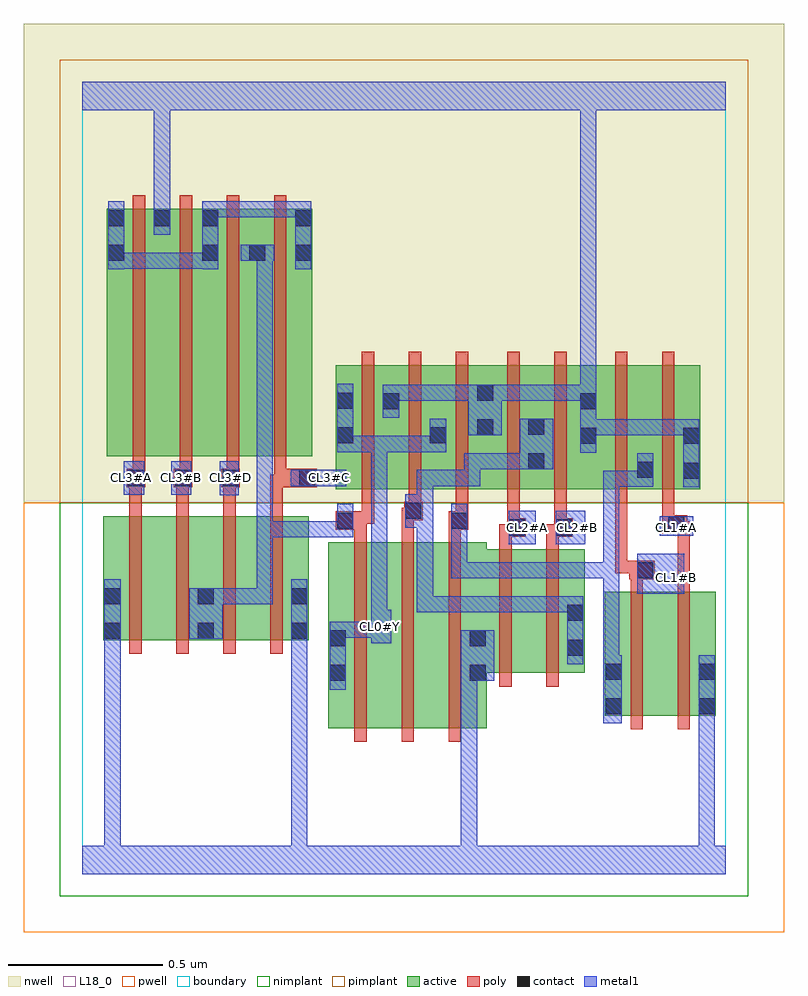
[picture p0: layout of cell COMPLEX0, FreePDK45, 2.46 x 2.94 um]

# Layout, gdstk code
import gdstk
lib = gdstk.Library(unit=1e-6, precision=1e-09)
def R(c, l, rs):  # rectangles x0, y0, x1, y1
    for r in rs: c.add(gdstk.rectangle(r[:2], r[2:], *l))
def A(c, l, x, y, w, h, nx, ny, dx, dy):  # array of equal rectangles
    R(c, l, [(x+i*dx, y+j*dy, x+i*dx+w, y+j*dy+h) for i in range(nx) for j in range(ny)])
active = (1, 0)
pwell = (2, 0)
nwell = (3, 0)
nimplant = (4, 0)
pimplant = (5, 0)
poly = (9, 0)
contact = (10, 0)
metal1 = (11, 0)
L18_0 = (18, 0)
boundary = (235, 0)

complex0 = lib.new_cell('COMPLEX0')
R(complex0, active, [(0.796,0.472,0.976,1.072), (0.796,0.472,0.856,1.072), (0.976,0.472,1.128,1.072), (1.128,0.472,1.308,1.072), (1.248,0.472,1.308,1.05), (1.688,0.512,1.748,0.912), (1.688,0.512,1.868,0.912), (1.868,0.512,2.048,0.912), (1.988,0.512,2.048,0.912), (1.248,0.65,1.444,1.05), (1.444,0.65,1.624,1.05), (1.564,0.65,1.624,1.05), (0.068,0.756,0.128,1.156), (0.068,0.756,0.248,1.156), (0.248,0.756,0.43,1.156), (0.37,0.756,0.552,1.156), (0.37,0.756,0.43,0.928), (0.552,0.756,0.732,1.156), (0.672,0.756,0.732,1.156), (0.82,1.244,0.88,1.644), (0.82,1.244,1.028,1.644), (0.968,1.244,1.18,1.644), (1.12,1.244,1.332,1.644), (1.272,1.244,1.498,1.644), (1.438,1.244,1.666,1.644), (1.606,1.244,1.85,1.644), (1.79,1.244,1.998,1.644), (1.938,1.244,1.998,1.644), (1.606,1.256,1.666,1.644), (1.79,1.276,1.85,1.644), (1.438,1.304,1.498,1.644), (0.08,1.35,0.14,2.15), (0.08,1.35,0.288,2.15), (0.228,1.35,0.288,2.15), (0.228,1.35,0.444,2.15), (0.384,1.35,0.444,2.15), (0.384,1.35,0.596,2.15), (0.536,1.35,0.744,2.15), (0.536,1.35,0.596,2.044), (0.684,1.35,0.744,2.15), (1.272,1.36,1.332,1.644), (1.12,1.388,1.18,1.644), (0.968,1.498,1.028,1.644)])
R(complex0, pwell, [(-0.188,-0.188,2.268,1.2)])
R(complex0, nwell, [(-0.188,1.2,2.268,2.748)])
R(complex0, nimplant, [(-0.072,-0.072,2.152,1.2)])
R(complex0, pimplant, [(-0.072,1.2,2.152,2.632)])
A(complex0, poly, 0.88, 0.428, 0.04, 0.688, 3, 1, 0.152, 0)
A(complex0, poly, 0.152, 0.712, 0.04, 0.488, 4, 1, 0.152, 0)
A(complex0, poly, 0.152, 1.16, 0.04, 0.13, 4, 1, 0.152, 0)
A(complex0, poly, 0.904, 1.2, 0.04, 0.488, 3, 1, 0.152, 0)
A(complex0, poly, 0.164, 1.27, 0.04, 0.076, 4, 1, 0.152, 0)
A(complex0, poly, 0.164, 1.306, 0.04, 0.888, 4, 1, 0.152, 0)
R(complex0, poly, [(1.772,0.468,1.812,0.956), (1.924,0.468,1.964,0.956), (1.348,0.606,1.388,1.094), (1.5,0.606,1.54,1.094), (1.772,0.916,1.812,0.992), (1.924,0.916,1.964,1.14), (1.768,0.952,1.85,1.012), (1.722,0.972,1.762,1.24), (1.722,0.972,1.808,1.012), (1.768,0.972,1.808,1.012), (1.348,1.054,1.388,1.13), (1.5,1.054,1.54,1.13), (0.88,1.076,0.92,1.152), (1.032,1.076,1.072,1.184), (1.184,1.076,1.224,1.152), (1.348,1.09,1.414,1.13), (1.374,1.09,1.414,1.13), (1.374,1.09,1.434,1.15), (1.5,1.09,1.566,1.13), (1.526,1.09,1.566,1.13), (1.526,1.09,1.586,1.15), (1.874,1.1,1.956,1.16), (1.916,1.1,1.956,1.14), (1.916,1.1,1.964,1.14), (1.374,1.11,1.414,1.24), (1.526,1.11,1.566,1.24), (0.82,1.112,0.92,1.172), (1.184,1.112,1.248,1.172), (1.874,1.12,1.914,1.24), (0.88,1.132,0.92,1.172), (0.88,1.132,0.944,1.172), (0.904,1.132,0.944,1.24), (1.208,1.132,1.248,1.172), (1.208,1.132,1.248,1.172), (1.208,1.132,1.248,1.24), (1.032,1.144,1.08,1.184), (1.04,1.144,1.08,1.184), (1.04,1.144,1.1,1.204), (1.056,1.164,1.096,1.24), (1.374,1.2,1.414,1.688), (1.526,1.2,1.566,1.688), (1.722,1.2,1.762,1.688), (1.874,1.2,1.914,1.688), (0.144,1.25,0.204,1.31), (0.152,1.25,0.192,1.29), (0.152,1.25,0.192,1.29), (0.296,1.25,0.356,1.31), (0.45,1.25,0.51,1.31), (0.608,1.25,0.66,1.29), (0.62,1.25,0.66,1.29), (0.62,1.25,0.758,1.31), (0.316,1.27,0.356,1.31), (0.316,1.27,0.356,1.31), (0.468,1.27,0.508,1.31), (0.468,1.27,0.508,1.31)])
A(complex0, contact, 0.072, 0.76, 0.052, 0.052, 3, 2, 0.302, 0.112)
R(complex0, contact, [(1.692,0.516,1.744,0.568), (1.992,0.516,2.044,0.568), (0.8,0.624,0.852,0.676), (1.252,0.624,1.304,0.676), (1.692,0.628,1.744,0.68), (1.992,0.628,2.044,0.68), (1.568,0.706,1.62,0.758), (0.8,0.736,0.852,0.788), (1.252,0.736,1.304,0.788), (1.568,0.818,1.62,0.87), (1.794,0.956,1.846,1.008), (1.378,1.094,1.43,1.146), (1.53,1.094,1.582,1.146), (1.894,1.104,1.946,1.156), (0.824,1.116,0.876,1.168), (1.192,1.116,1.244,1.168), (1.044,1.148,1.096,1.2), (0.148,1.254,0.2,1.306), (0.3,1.254,0.352,1.306), (0.454,1.254,0.506,1.306), (0.702,1.254,0.754,1.306), (1.942,1.278,1.994,1.33), (1.794,1.28,1.846,1.332), (1.442,1.308,1.494,1.36), (1.61,1.39,1.662,1.442), (1.942,1.39,1.994,1.442), (0.824,1.392,0.876,1.444), (1.124,1.392,1.176,1.444), (1.276,1.418,1.328,1.47), (1.442,1.42,1.494,1.472), (0.972,1.502,1.024,1.554), (1.61,1.502,1.662,1.554), (0.824,1.504,0.876,1.556), (1.276,1.53,1.328,1.582), (0.084,1.982,0.136,2.034), (0.388,1.982,0.44,2.034), (0.54,1.982,0.592,2.034), (0.688,1.982,0.74,2.034), (0.084,2.094,0.136,2.146), (0.232,2.094,0.284,2.146), (0.388,2.094,0.44,2.146), (0.688,2.094,0.74,2.146)])
R(complex0, metal1, [(0,0,2.08,0.092), (0.072,0.04,0.124,0.092), (0.072,0.04,0.124,0.092), (0.072,0.04,0.124,0.092), (0.072,0.04,0.124,0.092), (0.072,0.04,0.124,0.092), (0.072,0.04,0.124,0.092), (0.072,0.04,0.124,0.092), (0.072,0.04,0.124,0.092), (0.072,0.04,0.124,0.092), (0.072,0.04,0.124,0.092), (0.072,0.04,0.124,0.784), (0.676,0.04,0.728,0.092), (0.676,0.04,0.728,0.092), (0.676,0.04,0.728,0.092), (0.676,0.04,0.728,0.092), (0.676,0.04,0.728,0.092), (0.676,0.04,0.728,0.092), (0.676,0.04,0.728,0.092), (0.676,0.04,0.728,0.092), (0.676,0.04,0.728,0.092), (0.676,0.04,0.728,0.092), (0.676,0.04,0.728,0.092), (0.676,0.04,0.728,0.092), (0.676,0.04,0.728,0.784), (1.224,0.04,1.276,0.092), (1.224,0.04,1.276,0.092), (1.224,0.04,1.276,0.092), (1.224,0.04,1.276,0.092), (1.224,0.04,1.276,0.092), (1.224,0.04,1.276,0.092), (1.224,0.04,1.276,0.092), (1.224,0.04,1.276,0.092), (1.224,0.04,1.276,0.676), (1.992,0.04,2.044,0.092), (1.992,0.04,2.044,0.092), (1.992,0.04,2.044,0.092), (1.992,0.04,2.044,0.092), (1.992,0.04,2.044,0.54), (1.684,0.488,1.744,0.708), (1.992,0.488,2.044,0.54), (1.992,0.488,2.044,0.54), (1.992,0.488,2.044,0.54), (1.992,0.488,2.044,0.54), (1.992,0.488,2.044,0.54), (1.992,0.488,2.044,0.54), (1.992,0.488,2.044,0.54), (1.992,0.488,2.044,0.54), (1.992,0.488,2.044,0.708), (0.8,0.596,0.852,0.816), (1.224,0.624,1.332,0.788), (1.684,0.656,1.736,1.008), (1.568,0.678,1.62,0.898), (0.072,0.732,0.124,0.784), (0.072,0.732,0.124,0.784), (0.072,0.732,0.124,0.952), (0.676,0.732,0.728,0.952), (0.934,0.746,0.998,0.854), (0.346,0.76,0.454,0.924), (0.8,0.764,0.852,0.816), (0.8,0.764,0.852,0.816), (0.8,0.764,0.986,0.816), (0.934,0.764,0.986,0.816), (0.934,0.764,0.986,0.816), (0.934,0.764,0.986,0.816), (0.934,0.764,0.986,0.816), (0.934,0.764,0.986,0.816), (0.934,0.764,0.986,0.816), (0.934,0.764,0.986,1.416), (1.082,0.846,1.134,0.898), (1.082,0.846,1.134,0.898), (1.082,0.846,1.134,0.898), (1.082,0.846,1.32,0.898), (1.082,0.846,1.134,1.228), (1.268,0.846,1.32,0.898), (1.268,0.846,1.32,0.898), (1.268,0.846,1.32,0.898), (1.268,0.846,1.466,0.898), (1.414,0.846,1.466,0.898), (1.414,0.846,1.466,0.898), (1.414,0.846,1.466,0.898), (1.414,0.846,1.62,0.898), (1.568,0.846,1.62,0.898), (1.568,0.846,1.62,0.898), (0.402,0.872,0.454,0.924), (0.402,0.872,0.454,0.924), (0.402,0.872,0.616,0.924), (0.564,0.872,0.616,0.924), (0.564,0.872,0.616,1.14), (1.794,0.906,1.946,1.036), (1.192,0.956,1.472,1.008), (1.192,0.956,1.244,1.14), (1.42,0.956,1.472,1.008), (1.42,0.956,1.472,1.008), (1.42,0.956,1.472,1.008), (1.42,0.956,1.582,1.008), (1.53,0.956,1.582,1.008), (1.53,0.956,1.582,1.008), (1.53,0.956,1.582,1.008), (1.53,0.956,1.736,1.008), (1.684,0.956,1.736,1.008), (1.684,0.956,1.736,1.008), (1.684,0.956,1.736,1.008), (1.684,0.956,1.736,1.304), (1.378,1.066,1.466,1.174), (1.53,1.066,1.626,1.174), (0.564,1.088,0.616,1.14), (0.564,1.088,0.726,1.14), (0.564,1.088,0.616,2.034), (0.674,1.088,0.726,1.14), (0.674,1.088,0.726,1.14), (0.674,1.088,0.726,1.14), (0.674,1.088,0.876,1.14), (0.824,1.088,0.876,1.14), (0.824,1.088,0.876,1.14), (0.824,1.088,0.876,1.196), (1.192,1.088,1.244,1.14), (1.192,1.088,1.244,1.196), (1.866,1.094,1.974,1.156), (1.044,1.12,1.096,1.228), (1.044,1.176,1.134,1.228), (1.082,1.176,1.134,1.306), (0.444,1.224,0.506,1.334), (0.134,1.226,0.2,1.334), (0.288,1.226,0.352,1.334), (1.942,1.25,1.994,1.47), (1.684,1.252,1.736,1.304), (1.684,1.252,1.772,1.304), (1.72,1.252,1.772,1.304), (1.72,1.252,1.846,1.304), (1.794,1.252,1.846,1.36), (0.674,1.254,0.854,1.306), (1.082,1.254,1.286,1.306), (1.234,1.254,1.286,1.306), (1.234,1.254,1.286,1.306), (1.234,1.254,1.286,1.306), (1.234,1.254,1.286,1.36), (1.234,1.308,1.286,1.36), (1.234,1.308,1.466,1.36), (1.414,1.308,1.466,1.36), (1.414,1.308,1.466,1.36), (1.414,1.308,1.522,1.472), (1.61,1.362,1.662,1.582), (0.824,1.364,0.876,1.416), (0.824,1.364,0.876,1.416), (0.824,1.364,0.876,1.584), (0.824,1.364,0.986,1.416), (0.934,1.364,0.986,1.416), (0.934,1.364,0.986,1.416), (0.934,1.364,0.986,1.416), (0.934,1.364,1.176,1.416), (1.124,1.364,1.176,1.472), (1.248,1.418,1.356,1.582), (1.61,1.418,1.736,1.47), (1.684,1.418,1.736,1.47), (1.684,1.418,1.772,1.47), (1.72,1.418,1.772,1.47), (1.72,1.418,1.884,1.47), (1.832,1.418,1.884,1.47), (1.832,1.418,1.994,1.47), (1.942,1.418,1.994,1.47), (1.942,1.418,1.994,1.47), (0.972,1.474,1.024,1.582), (0.972,1.53,1.134,1.582), (1.082,1.53,1.134,1.582), (1.082,1.53,1.134,1.582), (1.082,1.53,1.134,1.582), (1.082,1.53,1.3,1.582), (1.248,1.53,1.3,1.582), (1.248,1.53,1.3,1.582), (1.304,1.53,1.472,1.582), (1.42,1.53,1.472,1.582), (1.42,1.53,1.472,1.582), (1.42,1.53,1.472,1.582), (1.42,1.53,1.626,1.582), (1.574,1.53,1.626,1.582), (1.574,1.53,1.662,1.582), (1.61,1.53,1.662,2.52), (0.084,1.954,0.136,2.174), (0.388,1.954,0.44,2.174), (0.688,1.954,0.74,2.174), (0.084,1.956,0.136,2.008), (0.084,1.956,0.136,2.008), (0.084,1.956,0.288,2.008), (0.236,1.956,0.288,2.008), (0.236,1.956,0.288,2.008), (0.236,1.956,0.288,2.008), (0.236,1.956,0.44,2.008), (0.512,1.982,0.62,2.034), (0.564,1.982,0.616,2.034), (0.564,1.982,0.616,2.034), (0.232,2.066,0.284,2.174), (0.232,2.122,0.284,2.52), (0.388,2.122,0.44,2.174), (0.388,2.122,0.44,2.174), (0.388,2.122,0.44,2.174), (0.388,2.122,0.44,2.174), (0.388,2.122,0.616,2.174), (0.564,2.122,0.616,2.174), (0.564,2.122,0.616,2.174), (0.564,2.122,0.616,2.174), (0.564,2.122,0.74,2.174), (0,2.468,2.08,2.56), (0.232,2.468,0.284,2.52), (0.232,2.468,0.284,2.52), (0.232,2.468,0.284,2.52), (0.232,2.468,0.284,2.52), (0.232,2.468,0.284,2.52), (0.232,2.468,0.284,2.52), (0.232,2.468,0.284,2.52), (0.232,2.468,0.284,2.52), (1.61,2.468,1.662,2.52), (1.61,2.468,1.662,2.52), (1.61,2.468,1.662,2.52), (1.61,2.468,1.662,2.52), (1.61,2.468,1.662,2.52), (1.61,2.468,1.662,2.52), (1.61,2.468,1.662,2.52), (1.61,2.468,1.662,2.52), (1.61,2.468,1.662,2.52), (1.61,2.468,1.662,2.52), (1.61,2.468,1.662,2.52), (1.61,2.468,1.662,2.52), (1.61,2.468,1.662,2.52), (1.61,2.468,1.662,2.52), (1.61,2.468,1.662,2.52), (1.61,2.468,1.662,2.52)])
A(complex0, L18_0, 0.134, 1.254, 0.052, 0.052, 3, 1, 0.16, 0)
R(complex0, L18_0, [(0,0,2.08,0.092), (0.072,0.04,0.124,0.092), (0.072,0.04,0.124,0.092), (0.072,0.04,0.124,0.092), (0.072,0.04,0.124,0.092), (0.072,0.04,0.124,0.092), (0.072,0.04,0.124,0.092), (0.072,0.04,0.124,0.092), (0.072,0.04,0.124,0.092), (0.072,0.04,0.124,0.092), (0.072,0.04,0.124,0.092), (0.072,0.04,0.124,0.784), (0.676,0.04,0.728,0.092), (0.676,0.04,0.728,0.092), (0.676,0.04,0.728,0.092), (0.676,0.04,0.728,0.092), (0.676,0.04,0.728,0.092), (0.676,0.04,0.728,0.092), (0.676,0.04,0.728,0.092), (0.676,0.04,0.728,0.092), (0.676,0.04,0.728,0.092), (0.676,0.04,0.728,0.092), (0.676,0.04,0.728,0.092), (0.676,0.04,0.728,0.092), (0.676,0.04,0.728,0.784), (1.224,0.04,1.276,0.092), (1.224,0.04,1.276,0.092), (1.224,0.04,1.276,0.092), (1.224,0.04,1.276,0.092), (1.224,0.04,1.276,0.092), (1.224,0.04,1.276,0.092), (1.224,0.04,1.276,0.092), (1.224,0.04,1.276,0.092), (1.224,0.04,1.276,0.676), (1.992,0.04,2.044,0.092), (1.992,0.04,2.044,0.092), (1.992,0.04,2.044,0.092), (1.992,0.04,2.044,0.092), (1.992,0.04,2.044,0.54), (1.992,0.488,2.044,0.54), (1.992,0.488,2.044,0.54), (1.992,0.488,2.044,0.54), (1.992,0.488,2.044,0.54), (1.992,0.488,2.044,0.54), (1.992,0.488,2.044,0.54), (1.992,0.488,2.044,0.54), (1.992,0.488,2.044,0.54), (1.992,0.488,2.044,0.708), (0.8,0.596,0.852,0.816), (1.224,0.624,1.332,0.788), (0.072,0.732,0.124,0.784), (0.072,0.732,0.124,0.784), (0.072,0.732,0.124,0.952), (0.676,0.732,0.728,0.952), (0.934,0.746,0.998,0.854), (0.8,0.764,0.852,0.816), (0.8,0.764,0.852,0.816), (0.8,0.764,0.986,0.816), (0.934,0.764,0.986,0.816), (0.934,0.764,0.986,0.816), (0.934,0.764,0.986,0.816), (0.934,0.764,0.986,0.816), (0.934,0.764,0.986,0.816), (0.934,0.764,0.986,0.816), (0.934,0.764,0.986,1.416), (0.934,0.774,0.986,0.826), (1.794,0.906,1.946,1.036), (1.894,0.934,1.946,0.986), (1.378,1.066,1.466,1.174), (1.53,1.066,1.626,1.174), (1.414,1.094,1.466,1.146), (1.574,1.094,1.626,1.146), (1.866,1.094,1.974,1.156), (1.894,1.094,1.946,1.146), (0.444,1.224,0.506,1.334), (0.134,1.226,0.2,1.334), (0.288,1.226,0.352,1.334), (1.942,1.25,1.994,1.47), (0.674,1.254,0.854,1.306), (0.774,1.254,0.826,1.306), (1.61,1.362,1.662,1.582), (0.824,1.364,0.876,1.416), (0.824,1.364,0.876,1.416), (0.824,1.364,0.876,1.584), (0.824,1.364,0.986,1.416), (0.934,1.364,0.986,1.416), (0.934,1.364,0.986,1.416), (0.934,1.364,0.986,1.416), (0.934,1.364,1.176,1.416), (1.124,1.364,1.176,1.472), (1.248,1.418,1.356,1.582), (1.61,1.418,1.736,1.47), (1.684,1.418,1.736,1.47), (1.684,1.418,1.772,1.47), (1.72,1.418,1.772,1.47), (1.72,1.418,1.884,1.47), (1.832,1.418,1.884,1.47), (1.832,1.418,1.994,1.47), (1.942,1.418,1.994,1.47), (1.942,1.418,1.994,1.47), (0.972,1.474,1.024,1.582), (0.972,1.53,1.134,1.582), (1.082,1.53,1.134,1.582), (1.082,1.53,1.134,1.582), (1.082,1.53,1.134,1.582), (1.082,1.53,1.3,1.582), (1.248,1.53,1.3,1.582), (1.248,1.53,1.3,1.582), (1.304,1.53,1.472,1.582), (1.42,1.53,1.472,1.582), (1.42,1.53,1.472,1.582), (1.42,1.53,1.472,1.582), (1.42,1.53,1.626,1.582), (1.574,1.53,1.626,1.582), (1.574,1.53,1.662,1.582), (1.61,1.53,1.662,2.52), (0.232,2.066,0.284,2.174), (0.232,2.122,0.284,2.52), (0,2.468,2.08,2.56), (0.232,2.468,0.284,2.52), (0.232,2.468,0.284,2.52), (0.232,2.468,0.284,2.52), (0.232,2.468,0.284,2.52), (0.232,2.468,0.284,2.52), (0.232,2.468,0.284,2.52), (0.232,2.468,0.284,2.52), (0.232,2.468,0.284,2.52), (1.61,2.468,1.662,2.52), (1.61,2.468,1.662,2.52), (1.61,2.468,1.662,2.52), (1.61,2.468,1.662,2.52), (1.61,2.468,1.662,2.52), (1.61,2.468,1.662,2.52), (1.61,2.468,1.662,2.52), (1.61,2.468,1.662,2.52), (1.61,2.468,1.662,2.52), (1.61,2.468,1.662,2.52), (1.61,2.468,1.662,2.52), (1.61,2.468,1.662,2.52), (1.61,2.468,1.662,2.52), (1.61,2.468,1.662,2.52), (1.61,2.468,1.662,2.52), (1.61,2.468,1.662,2.52)])
R(complex0, boundary, [(0,0,2.08,2.56)])
complex0.add(gdstk.Label('CL0#Y', (0.96,0.8), layer=11, texttype=0))
complex0.add(gdstk.Label('CL1#A', (1.92,1.12), layer=11, texttype=0))
complex0.add(gdstk.Label('CL1#B', (1.92,0.96), layer=11, texttype=0))
complex0.add(gdstk.Label('CL2#A', (1.44,1.12), layer=11, texttype=0))
complex0.add(gdstk.Label('CL2#B', (1.6,1.12), layer=11, texttype=0))
complex0.add(gdstk.Label('CL3#A', (0.16,1.28), layer=11, texttype=0))
complex0.add(gdstk.Label('CL3#B', (0.32,1.28), layer=11, texttype=0))
complex0.add(gdstk.Label('CL3#C', (0.8,1.28), layer=11, texttype=0))
complex0.add(gdstk.Label('CL3#D', (0.48,1.28), layer=11, texttype=0))

lib.write_gds('COMPLEX0.gds')
